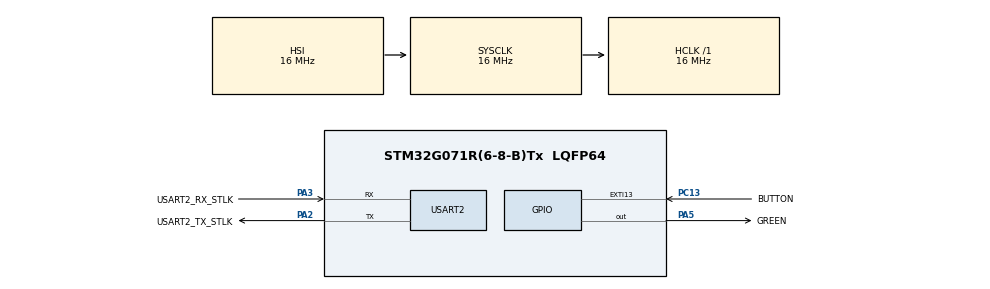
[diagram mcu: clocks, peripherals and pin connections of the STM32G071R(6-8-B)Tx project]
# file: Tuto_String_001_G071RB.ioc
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Dma.Request0=USART2_RX
Dma.USART2_RX.0.Direction=DMA_PERIPH_TO_MEMORY
Dma.USART2_RX.0.EventEnable=DISABLE
Dma.USART2_RX.0.Instance=DMA1_Channel1
Dma.USART2_RX.0.MemDataAlignment=DMA_MDATAALIGN_BYTE
Dma.USART2_RX.0.MemInc=DMA_MINC_ENABLE
Dma.USART2_RX.0.Mode=DMA_NORMAL
Dma.USART2_RX.0.PeriphDataAlignment=DMA_PDATAALIGN_BYTE
Dma.USART2_RX.0.PeriphInc=DMA_PINC_DISABLE
Dma.USART2_RX.0.Polarity=HAL_DMAMUX_REQ_GEN_RISING
Dma.USART2_RX.0.Priority=DMA_PRIORITY_LOW
Dma.USART2_RX.0.RequestNumber=1
Dma.USART2_RX.0.SignalID=NONE
Dma.USART2_RX.0.SyncEnable=DISABLE
Dma.USART2_RX.0.SyncPolarity=HAL_DMAMUX_SYNC_NO_EVENT
Dma.USART2_RX.0.SyncRequestNumber=1
Dma.USART2_RX.0.SyncSignalID=NONE
Mcu.Family=STM32G0
Mcu.Name=STM32G071R(6-8-B)Tx
Mcu.Package=LQFP64
NVIC.DMA1_Channel1_IRQn=true\:0\:0\:false\:false\:true\:false\:true\:true
NVIC.EXTI4_15_IRQn=true\:0\:0\:false\:false\:true\:true\:true\:true
NVIC.USART2_IRQn=true\:0\:0\:false\:false\:true\:true\:true\:true
PA13.GPIO_Label=TMS
PA13.Mode=Serial_Wire
PA13.Signal=SYS_SWDIO
PA14-BOOT0.GPIO_Label=TCK
PA14-BOOT0.Mode=Serial_Wire
PA14-BOOT0.Signal=SYS_SWCLK
PA2.GPIO_Label=USART2_TX_STLK
PA2.GPIO_PuPd=GPIO_PULLUP
PA2.Mode=Asynchronous
PA2.Signal=USART2_TX
PA3.GPIO_Label=USART2_RX_STLK
PA3.GPIO_PuPd=GPIO_PULLUP
PA3.Mode=Asynchronous
PA3.Signal=USART2_RX
PA5.GPIO_Label=GREEN
PA5.GPIO_Speed=GPIO_SPEED_FREQ_HIGH
PA5.Signal=GPIO_Output
PC13.GPIO_Label=BUTTON
PC13.GPIO_ModeDefaultEXTI=GPIO_MODE_IT_FALLING
PC13.Signal=GPXTI13
PC14-OSC32_IN\ (PC14).Mode=LSE-External-Oscillator
PC14-OSC32_IN\ (PC14).Signal=RCC_OSC32_IN
PC15-OSC32_OUT\ (PC15).Mode=LSE-External-Oscillator
PC15-OSC32_OUT\ (PC15).Signal=RCC_OSC32_OUT
PF0-OSC_IN\ (PF0).GPIO_Label=MCO
PF0-OSC_IN\ (PF0).Mode=HSE-External-Clock-Source
PF0-OSC_IN\ (PF0).Signal=RCC_OSC_IN
ProjectManager.HeapSize=0x200
ProjectManager.StackSize=0x400
ProjectManager.TargetToolchain=STM32CubeIDE
RCC.AHBFreq_Value=16000000
RCC.CortexFreq_Value=16000000
RCC.EXTERNAL_CLOCK_VALUE=12288000
RCC.HCLKFreq_Value=16000000
RCC.HSE_VALUE=8000000
RCC.HSI_VALUE=16000000
RCC.SYSCLKFreq_VALUE=16000000
RCC.VCOOutputFreq_Value=128000000
USART2.VirtualMode-Asynchronous=VM_ASYNC
board=NUCLEO-G071RB

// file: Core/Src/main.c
/* USER CODE BEGIN Header */
/**
  ******************************************************************************
  * @file           : main.c
  * @brief          : Main program body
  ******************************************************************************
  * @attention
  *
  * Copyright (c) 2022 STMicroelectronics.
  * All rights reserved.
  *
  * This software is licensed under terms that can be found in the LICENSE file
  * in the root directory of this software component.
  * If no LICENSE file comes with this software, it is provided AS-IS.
  *
  ******************************************************************************
  */
/* USER CODE END Header */
#include "main.h"

/* USER CODE BEGIN Includes */
#include <stdio.h>
#include <string.h>
/* USER CODE END Includes */

/* USER CODE BEGIN PD */
#define UART_TX_TIMEOUT			100
#define RX_BUFF_SIZE			100
#define PW_BUFF_SIZE			50
#define GN_BUFF_SIZE			50
/* USER CODE END PD */

UART_HandleTypeDef huart2;
DMA_HandleTypeDef hdma_usart2_rx;

/* USER CODE BEGIN PV */
char                hello[]         		= "Hello! Tuto_String_001_G071RB\n" ;
char                eol[]         			= "\n" ;
uint8_t             rx_buff[RX_BUFF_SIZE] ;
uint8_t             tx_buff[RX_BUFF_SIZE] ;
char				pw_buff_ascii[PW_BUFF_SIZE] ;
char				gn_buff_ascii[GN_BUFF_SIZE] ;
uint8_t				received = 0 ;

const char 			pw[5] = "$PW ";
const char 			gn[5] = "$GN ";
/* USER CODE END PV */

void SystemClock_Config(void);
static void MX_GPIO_Init(void);
static void MX_DMA_Init(void);
static void MX_USART2_UART_Init(void);
/* USER CODE BEGIN PFP */
void get_pw_ascii ( const char* s , char* d ) ;
void get_gn_ascii ( const char* s , char* d ) ;
/* USER CODE END PFP */

int main(void)
{

  /* MCU Configuration--------------------------------------------------------*/

  /* Reset of all peripherals, Initializes the Flash interface and the Systick. */
  HAL_Init();

  /* Configure the system clock */
  SystemClock_Config();

  /* Initialize all configured peripherals */
  MX_GPIO_Init();
  MX_DMA_Init();
  MX_USART2_UART_Init();
  /* USER CODE BEGIN 2 */
  HAL_UARTEx_ReceiveToIdle_DMA ( &huart2 , rx_buff , sizeof ( rx_buff ) ) ;
  HAL_UART_Transmit ( &huart2 , (const uint8_t *) hello , strlen ( hello ) , UART_TX_TIMEOUT ) ;
  /* USER CODE END 2 */

  /* Infinite loop */
  while (1)
  {

    /* USER CODE BEGIN 3 */
	  if ( received == 1 )
	  {
		  if ( strncmp ( (const char *) rx_buff  , pw , 4 ) == 0)
			  get_pw_ascii ( (const char *) rx_buff , pw_buff_ascii) ;
		  if ( strncmp ( (const char *) rx_buff  , gn , 4 ) == 0)
			  get_gn_ascii ( (const char *) rx_buff , gn_buff_ascii) ;
		  HAL_UART_Transmit ( &huart2 , (const uint8_t *) pw_buff_ascii , strlen ( (char *) pw_buff_ascii ) , UART_TX_TIMEOUT ) ;
		  HAL_UART_Transmit ( &huart2 , (const uint8_t *) eol , strlen ( eol ) , UART_TX_TIMEOUT ) ;
		  HAL_UART_Transmit ( &huart2 , (const uint8_t *) gn_buff_ascii , strlen ( (char *) gn_buff_ascii ) , UART_TX_TIMEOUT ) ;
		  HAL_UART_Transmit ( &huart2 , (const uint8_t *) eol , strlen ( eol ) , UART_TX_TIMEOUT ) ;
		  received = 0 ;
		  rx_buff[0] = 0 ;
	  }
  }
  /* USER CODE END 3 */
}

void SystemClock_Config(void)
{
  RCC_OscInitTypeDef RCC_OscInitStruct = {0};
  RCC_ClkInitTypeDef RCC_ClkInitStruct = {0};

  /** Configure the main internal regulator output voltage
  */
  HAL_PWREx_ControlVoltageScaling(PWR_REGULATOR_VOLTAGE_SCALE1);

  /** Initializes the RCC Oscillators according to the specified parameters
  * in the RCC_OscInitTypeDef structure.
  */
  RCC_OscInitStruct.OscillatorType = RCC_OSCILLATORTYPE_HSI;
  RCC_OscInitStruct.HSIState = RCC_HSI_ON;
  RCC_OscInitStruct.HSIDiv = RCC_HSI_DIV1;
  RCC_OscInitStruct.HSICalibrationValue = RCC_HSICALIBRATION_DEFAULT;
  RCC_OscInitStruct.PLL.PLLState = RCC_PLL_NONE;
  if (HAL_RCC_OscConfig(&RCC_OscInitStruct) != HAL_OK)
  {
    Error_Handler();
  }

  /** Initializes the CPU, AHB and APB buses clocks
  */
  RCC_ClkInitStruct.ClockType = RCC_CLOCKTYPE_HCLK|RCC_CLOCKTYPE_SYSCLK
                              |RCC_CLOCKTYPE_PCLK1;
  RCC_ClkInitStruct.SYSCLKSource = RCC_SYSCLKSOURCE_HSI;
  RCC_ClkInitStruct.AHBCLKDivider = RCC_SYSCLK_DIV1;
  RCC_ClkInitStruct.APB1CLKDivider = RCC_HCLK_DIV1;

  if (HAL_RCC_ClockConfig(&RCC_ClkInitStruct, FLASH_LATENCY_0) != HAL_OK)
  {
    Error_Handler();
  }
}

static void MX_USART2_UART_Init(void)
{

  huart2.Instance = USART2;
  huart2.Init.BaudRate = 115200;
  huart2.Init.WordLength = UART_WORDLENGTH_8B;
  huart2.Init.StopBits = UART_STOPBITS_1;
  huart2.Init.Parity = UART_PARITY_NONE;
  huart2.Init.Mode = UART_MODE_TX_RX;
  huart2.Init.HwFlowCtl = UART_HWCONTROL_NONE;
  huart2.Init.OverSampling = UART_OVERSAMPLING_16;
  huart2.Init.OneBitSampling = UART_ONE_BIT_SAMPLE_DISABLE;
  huart2.Init.ClockPrescaler = UART_PRESCALER_DIV1;
  huart2.AdvancedInit.AdvFeatureInit = UART_ADVFEATURE_NO_INIT;
  if (HAL_UART_Init(&huart2) != HAL_OK)
  {
    Error_Handler();
  }
  if (HAL_UARTEx_SetTxFifoThreshold(&huart2, UART_TXFIFO_THRESHOLD_1_8) != HAL_OK)
  {
    Error_Handler();
  }
  if (HAL_UARTEx_SetRxFifoThreshold(&huart2, UART_RXFIFO_THRESHOLD_1_8) != HAL_OK)
  {
    Error_Handler();
  }
  if (HAL_UARTEx_DisableFifoMode(&huart2) != HAL_OK)
  {
    Error_Handler();
  }

}

static void MX_DMA_Init(void)
{

  /* DMA controller clock enable */
  __HAL_RCC_DMA1_CLK_ENABLE();

  /* DMA interrupt init */
  /* DMA1_Channel1_IRQn interrupt configuration */
  HAL_NVIC_SetPriority(DMA1_Channel1_IRQn, 0, 0);
  HAL_NVIC_EnableIRQ(DMA1_Channel1_IRQn);

}

static void MX_GPIO_Init(void)
{
  GPIO_InitTypeDef GPIO_InitStruct = {0};

  /* GPIO Ports Clock Enable */
  __HAL_RCC_GPIOC_CLK_ENABLE();
  __HAL_RCC_GPIOF_CLK_ENABLE();
  __HAL_RCC_GPIOA_CLK_ENABLE();

  /*Configure GPIO pin Output Level */
  HAL_GPIO_WritePin(GREEN_GPIO_Port, GREEN_Pin, GPIO_PIN_RESET);

  /*Configure GPIO pin : BUTTON_Pin */
  GPIO_InitStruct.Pin = BUTTON_Pin;
  GPIO_InitStruct.Mode = GPIO_MODE_IT_FALLING;
  GPIO_InitStruct.Pull = GPIO_NOPULL;
  HAL_GPIO_Init(BUTTON_GPIO_Port, &GPIO_InitStruct);

  /*Configure GPIO pin : GREEN_Pin */
  GPIO_InitStruct.Pin = GREEN_Pin;
  GPIO_InitStruct.Mode = GPIO_MODE_OUTPUT_PP;
  GPIO_InitStruct.Pull = GPIO_NOPULL;
  GPIO_InitStruct.Speed = GPIO_SPEED_FREQ_HIGH;
  HAL_GPIO_Init(GREEN_GPIO_Port, &GPIO_InitStruct);

  /* EXTI interrupt init*/
  HAL_NVIC_SetPriority(EXTI4_15_IRQn, 0, 0);
  HAL_NVIC_EnableIRQ(EXTI4_15_IRQn);

}

/* USER CODE BEGIN 4 */
void get_pw_ascii ( const char* s , char* d )
{
	char comm[6] ;
	if ( strlen ( (char *) s ) > 12 ) // 12 to odpowiednik $PW 3.30300
	{
		sscanf ( s , "%[$A-Z] %4[0-9.]," , comm , d ) ;
		d[4] = 59 ; // ";"
		d[5] = 0 ; // ";"
	}
}
void get_gn_ascii ( const char* s , char* d )
{
	char e[2] = ";" ;
	char comm[6] ;
	if ( strlen ( (char *) s ) > 12 )
	{
		sscanf ( s , "%[$A-Z] %[0-9.,]*" , comm , d ) ;
		strcat ( d , e ) ;
	}
}

void HAL_GPIO_EXTI_Falling_Callback ( uint16_t GPIO_Pin )
{
	strcat ( pw_buff_ascii , gn_buff_ascii ) ;
	HAL_UART_Transmit ( &huart2 , (const uint8_t *) pw_buff_ascii , strlen ( (char *) pw_buff_ascii ) , UART_TX_TIMEOUT ) ;
	HAL_UART_Transmit ( &huart2 , (const uint8_t *) eol , strlen ( eol ) , UART_TX_TIMEOUT ) ;
	pw_buff_ascii[0] = 0 ;
	gn_buff_ascii [0] = 0 ;
}

void HAL_UARTEx_RxEventCallback ( UART_HandleTypeDef *huart , uint16_t Size )
{
    if ( huart->Instance == USART2 )
    	received = 1 ;
    HAL_UARTEx_ReceiveToIdle_DMA ( &huart2 , rx_buff , sizeof ( rx_buff ) ) ;
}
/* USER CODE END 4 */

void Error_Handler(void)
{
  __disable_irq();
  while (1)
  {
  }
}
